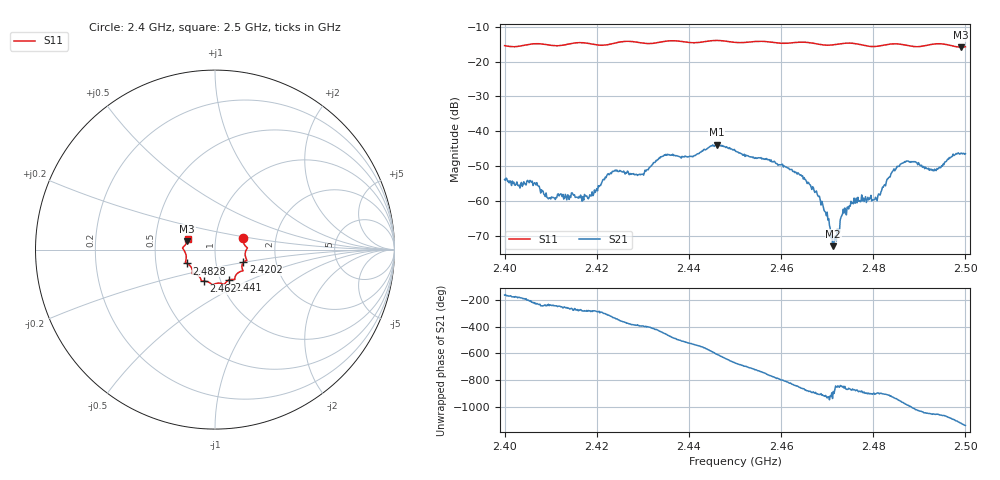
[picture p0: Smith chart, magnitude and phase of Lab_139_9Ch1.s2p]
# Hz S RI R 50
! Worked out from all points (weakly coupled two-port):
!   601 points, 2.4 GHz to 2.5 GHz, reference 50 ohm
!   highest |S21| = -43.88 dB at 2.446 GHz (marker M1); lowest = -73.0 dB at 2.4713 GHz (marker M2)
!   lowest |S11| = -15.8 dB at 2.499 GHz (marker M3), VSWR 1.39, Z = 36.5 + j3.48 ohm
!   |S11| at or under -10 dB: start of sweep to end of sweep
!   S12 and S22 are empty: the file has one direction only
!   S11 on the Smith chart (normalised r, x): 2.4 GHz: 1.36, +0.18; 2.4202 GHz: 1.36, -0.20; 2.441 GHz: 1.10, -0.39; 2.462 GHz: 0.84, -0.30; 2.4828 GHz: 0.72, -0.11; 2.5 GHz: 0.73, +0.09
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2.4e9  0.1575 0.063  -0.00195 -0.000547  0 0  0 0
2.409667e9  0.1732 -0.00284  -0.000478 0.000992  0 0  0 0
2.416667e9  0.1777 -0.06  0.000158 0.0011  0 0  0 0
2.420167e9  0.1585 -0.0708  0.000454 0.00131  0 0  0 0
2.423833e9  0.1515 -0.1052  0.00245 0.00114  0 0  0 0
2.429667e9  0.1396 -0.1226  0.00195 -0.00142  0 0  0 0
2.433333e9  0.1124 -0.1509  0.00143 -0.00366  0 0  0 0
2.441e9  0.0785 -0.1696  -0.00437 -0.000556  0 0  0 0
2.446e9  0.0509 -0.1949  -0.00261 0.00584  0 0  0 0
2.45e9  0.0285 -0.1871  0.00353 0.00398  0 0  0 0
2.462e9  -0.0604 -0.1755  -0.000561 -0.00276  0 0  0 0
2.466667e9  -0.0779 -0.1683  -0.00145 -0.000189  0 0  0 0
2.4695e9  -0.0909 -0.1471  -0.000658 0.000247  0 0  0 0
2.471333e9  -0.1076 -0.1374  -0.000215 -6.09e-05  0 0  0 0
2.475333e9  -0.1266 -0.1335  -0.000832 -0.000386  0 0  0 0
2.480333e9  -0.1373 -0.0917  -0.00104 0.00011  0 0  0 0
2.482833e9  -0.1576 -0.0774  -0.00186 0.000228  0 0  0 0
2.483333e9  -0.1607 -0.0759  -0.00211 0.000455  0 0  0 0
2.487e9  -0.1621 -0.0602  -0.000663 0.00355  0 0  0 0
2.493167e9  -0.1792 0.00491  0.00241 0.0012  0 0  0 0
2.499e9  -0.1546 0.0465  0.00367 -0.00315  0 0  0 0
2.5e9  -0.1515 0.061  0.00248 -0.00406  0 0  0 0
